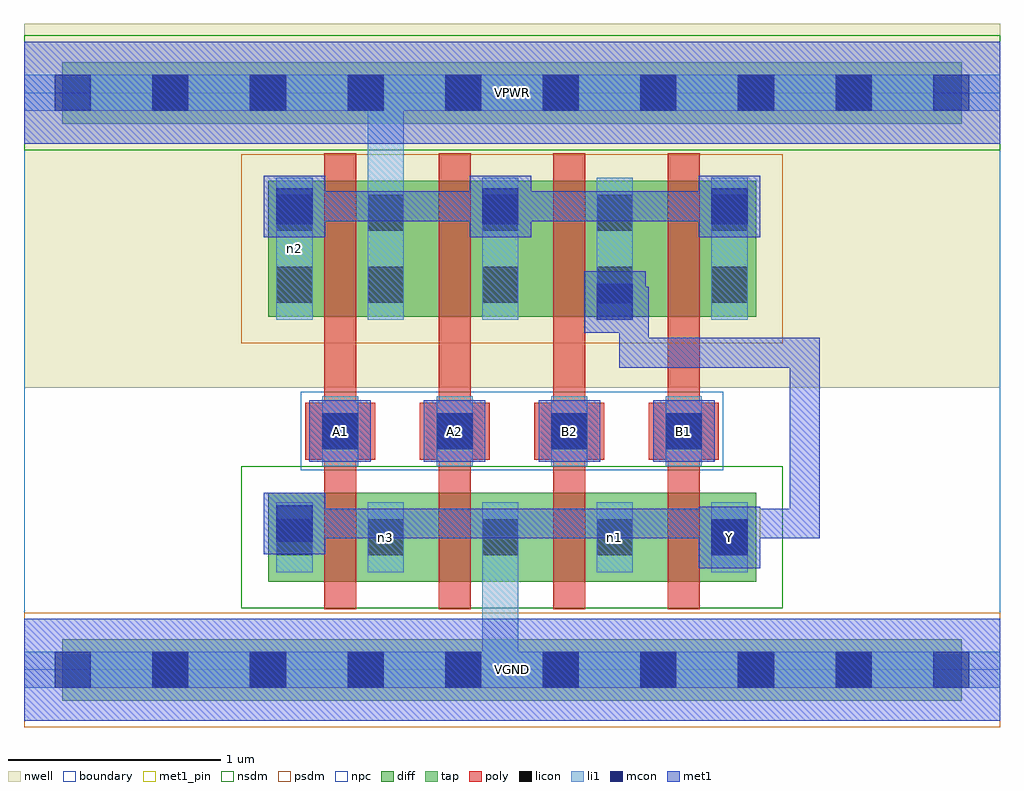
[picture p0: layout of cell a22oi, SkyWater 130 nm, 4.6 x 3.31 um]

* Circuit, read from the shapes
.subckt a22oi A1 A2 B1 B2 VGND VPWR Y n1 n2 n3
XM1 n3 A1 Y VGND sky130_fd_pr__nfet_01v8 w=0.42 l=0.15
XM2 VGND A2 n3 VGND sky130_fd_pr__nfet_01v8 w=0.42 l=0.15
XM3 n1 B2 VGND VGND sky130_fd_pr__nfet_01v8 w=0.42 l=0.15
XM4 Y B1 n1 VGND sky130_fd_pr__nfet_01v8 w=0.42 l=0.15
XM5 VPWR A1 n2 VPWR sky130_fd_pr__pfet_01v8 w=0.64 l=0.15
XM6 n2 A2 VPWR VPWR sky130_fd_pr__pfet_01v8 w=0.64 l=0.15
XM7 Y B2 n2 VPWR sky130_fd_pr__pfet_01v8 w=0.64 l=0.15
XM8 n2 B1 Y VPWR sky130_fd_pr__pfet_01v8 w=0.64 l=0.15
.ends

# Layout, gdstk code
import gdstk
lib = gdstk.Library(unit=1e-6, precision=1e-09)
def R(c, l, rs):  # rectangles x0, y0, x1, y1
    for r in rs: c.add(gdstk.rectangle(r[:2], r[2:], *l))
def A(c, l, x, y, w, h, nx, ny, dx, dy):  # array of equal rectangles
    R(c, l, [(x+i*dx, y+j*dy, x+i*dx+w, y+j*dy+h) for i in range(nx) for j in range(ny)])
nwell = (64, 20)
diff = (65, 20)
tap = (65, 44)
poly = (66, 20)
licon = (66, 44)
li1 = (67, 20)
mcon = (67, 44)
met1_pin = (68, 16)
met1 = (68, 20)
nsdm = (93, 44)
psdm = (94, 20)
npc = (95, 20)
boundary = (235, 4)

a22oi = lib.new_cell('a22oi')
R(a22oi, nwell, [(0,1.33,4.6,3.045)])
R(a22oi, diff, [(1.15,0.415,3.45,0.835), (1.15,1.665,3.45,2.305)])
R(a22oi, tap, [(0.18,-0.145,4.42,0.145), (0.18,2.575,4.42,2.865)])
A(a22oi, poly, 1.415, 0.285, 0.15, 2.15, 4, 1, 0.54, 0)
A(a22oi, poly, 1.325, 0.99, 0.33, 0.27, 4, 1, 0.54, 0)
A(a22oi, licon, 0.605, -0.085, 0.17, 0.17, 8, 2, 0.46, 2.72)
A(a22oi, licon, 1.62, 0.54, 0.17, 0.17, 4, 2, 0.54, 1.19)
A(a22oi, licon, 1.405, 1.04, 0.17, 0.17, 4, 1, 0.54, 0)
A(a22oi, licon, 1.62, 2.07, 0.17, 0.17, 4, 1, 0.54, 0)
R(a22oi, licon, [(1.19,0.54,1.36,0.71), (1.19,1.73,1.36,1.9), (1.19,2.07,1.36,2.24)])
A(a22oi, li1, 1.62, 0.46, 0.17, 0.33, 4, 1, 0.54, 0)
A(a22oi, li1, 1.405, 0.96, 0.17, 0.33, 4, 1, 0.54, 0)
A(a22oi, li1, 1.62, 1.65, 0.17, 0.67, 4, 1, 0.54, 0)
R(a22oi, li1, [(0,-0.085,4.6,0.085), (2.16,-0.085,2.33,0.79), (1.19,0.46,1.36,0.79), (1.19,1.65,1.36,2.32), (1.62,1.65,1.79,2.805), (0,2.635,4.6,2.805)])
A(a22oi, mcon, 0.145, -0.085, 0.17, 0.17, 10, 2, 0.46, 2.72)
A(a22oi, mcon, 1.405, 1.04, 0.17, 0.17, 4, 1, 0.54, 0)
R(a22oi, mcon, [(3.24,0.54,3.41,0.71), (1.19,0.605,1.36,0.775), (2.7,1.65,2.87,1.82), (1.19,2.1,1.36,2.27), (2.16,2.1,2.33,2.27), (3.24,2.1,3.41,2.27)])
A(a22oi, met1_pin, 1.345, 0.98, 0.29, 0.29, 4, 1, 0.54, 0)
R(a22oi, met1_pin, [(0,-0.24,4.6,0.24), (3.18,0.48,3.47,0.77), (0,2.48,4.6,2.96)])
A(a22oi, met1, 1.345, 0.98, 0.29, 0.29, 4, 1, 0.54, 0)
R(a22oi, met1, [(0,-0.24,4.6,0.24), (3.18,0.48,3.47,0.77), (1.13,0.545,1.42,0.835), (1.205,0.62,1.45,0.76), (1.31,0.62,3.405,0.76), (3.265,0.62,3.405,0.76), (3.265,0.62,3.75,0.76), (3.61,0.62,3.75,1.565), (2.805,1.425,3.75,1.565), (2.805,1.425,2.945,1.68), (2.805,1.54,2.945,1.805), (2.64,1.59,2.93,1.88), (2.715,1.665,2.945,1.805), (1.13,2.04,1.42,2.33), (2.1,2.04,2.39,2.33), (3.18,2.04,3.47,2.33), (1.205,2.115,1.45,2.255), (1.31,2.115,2.485,2.255), (2.175,2.115,2.485,2.255), (2.345,2.115,3.29,2.255), (3.15,2.115,3.395,2.255), (0,2.48,4.6,2.96)])
R(a22oi, nsdm, [(1.025,0.29,3.575,0.96), (0,2.45,4.6,2.99)])
R(a22oi, psdm, [(0,-0.27,4.6,0.27), (1.025,1.54,3.575,2.43)])
R(a22oi, npc, [(1.305,0.94,3.295,1.31)])
R(a22oi, boundary, [(0,0,4.6,2.72)])
a22oi.add(gdstk.Label('n3', (1.705,0.625), layer=67, texttype=5))
a22oi.add(gdstk.Label('n1', (2.785,0.625), layer=67, texttype=5))
a22oi.add(gdstk.Label('n2', (1.275,1.985), layer=67, texttype=5))
a22oi.add(gdstk.Label('A1', (1.49,1.125), layer=68, texttype=5))
a22oi.add(gdstk.Label('A2', (2.03,1.125), layer=68, texttype=5))
a22oi.add(gdstk.Label('B1', (3.11,1.125), layer=68, texttype=5))
a22oi.add(gdstk.Label('B2', (2.57,1.125), layer=68, texttype=5))
a22oi.add(gdstk.Label('Y', (3.325,0.625), layer=68, texttype=5))
a22oi.add(gdstk.Label('VPWR', (2.3,2.72), layer=68, texttype=5))
a22oi.add(gdstk.Label('VGND', (2.3,0), layer=68, texttype=5))
a22oi.add(gdstk.Label('A1', (1.49,1.125), layer=68, texttype=16))
a22oi.add(gdstk.Label('A2', (2.03,1.125), layer=68, texttype=16))
a22oi.add(gdstk.Label('B1', (3.11,1.125), layer=68, texttype=16))
a22oi.add(gdstk.Label('B2', (2.57,1.125), layer=68, texttype=16))
a22oi.add(gdstk.Label('Y', (3.325,0.625), layer=68, texttype=16))
a22oi.add(gdstk.Label('VPWR', (2.3,2.72), layer=68, texttype=16))
a22oi.add(gdstk.Label('VGND', (2.3,0), layer=68, texttype=16))

lib.write_gds('a22oi.gds')
